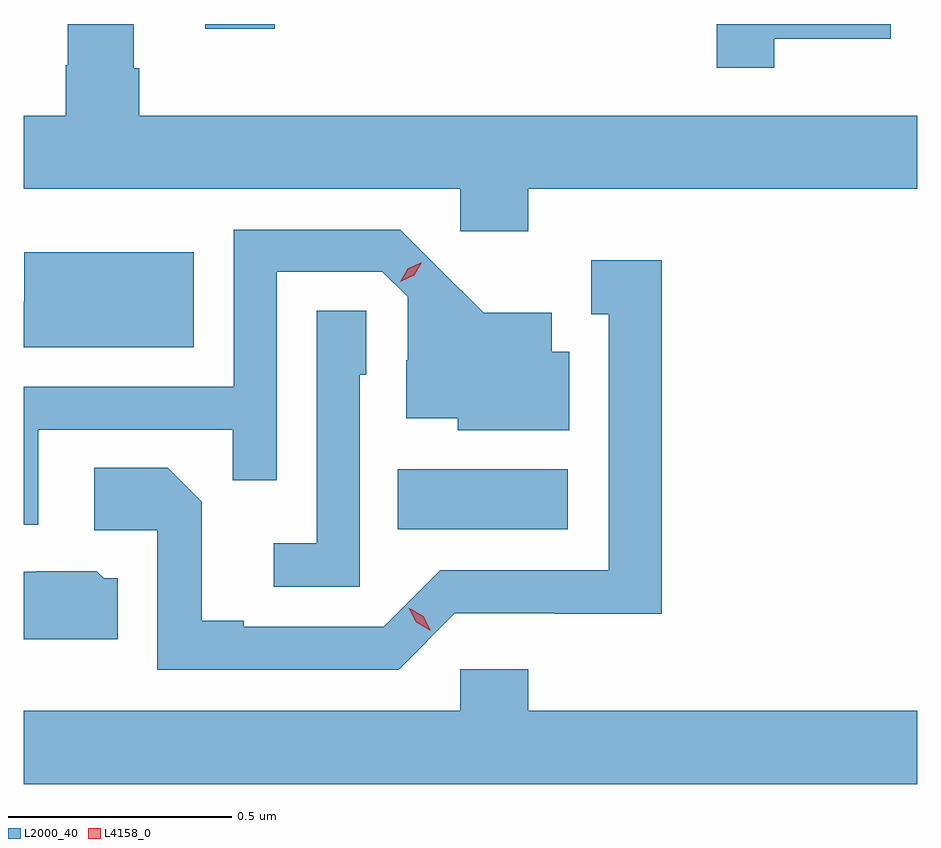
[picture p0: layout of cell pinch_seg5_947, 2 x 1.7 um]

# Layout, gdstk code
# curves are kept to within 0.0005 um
import gdstk
lib = gdstk.Library(unit=1e-6, precision=1e-09)
def R(c, l, rs):  # rectangles x0, y0, x1, y1
    for r in rs: c.add(gdstk.rectangle(r[:2], r[2:], *l))
def P(c, l, *ps):  # polygons
    for p in ps: c.add(gdstk.Polygon(p, *l))
L2000_40 = (2000, 40)
L4158_0 = (4158, 0)

pinch_seg5_947 = lib.new_cell('pinch_seg5_947')
R(pinch_seg5_947, L2000_40, [(689.926,891.962,690.307,892.096), (689.495,893.082,689.651,893.093)])
P(pinch_seg5_947, L2000_40, [(690.218,892.724),(691.089,892.724),(691.089,892.888),(689.348,892.888),(689.348,892.994),(689.335,892.994),(689.335,893.093),(689.188,893.093),(689.188,893.001),(689.183,893.001),(689.183,892.888),(689.089,892.888),(689.089,892.724),(690.066,892.724),(690.066,892.629),(690.218,892.629)],
  [(690.769,893.06),(691.03,893.06),(691.03,893.093),(690.64,893.093),(690.64,892.995),(690.769,892.995)],
  [(689.121,892.185),(689.557,892.185),(689.557,892.072),(689.655,892.072),(689.655,892.539),(689.892,892.539),(689.949,892.482),(689.949,892.34),(689.945,892.34),(689.945,892.211),(690.06,892.211),(690.06,892.184),(690.31,892.184),(690.31,892.36),(690.271,892.36),(690.271,892.447),(690.119,892.447),(689.932,892.632),(689.559,892.632),(689.559,892.281),(689.089,892.281),(689.089,891.972),(689.121,891.972)],
  [(689.47,892.582),(689.09,892.582),(689.09,892.471),(689.089,892.471),(689.089,892.37),(689.47,892.37)],
  [(690.054,891.774),(690.276,891.774),(690.276,891.773),(690.517,891.773),(690.517,892.564),(690.359,892.564),(690.359,892.443),(690.398,892.443),(690.398,891.87),(690.021,891.87),(689.895,891.744),(689.581,891.744),(689.581,891.757),(689.487,891.757),(689.487,892.024),(689.411,892.1),(689.247,892.1),(689.247,891.96),(689.388,891.96),(689.388,891.648),(689.928,891.648)],
  [(689.841,892.308),(689.856,892.308),(689.856,892.451),(689.745,892.451),(689.745,891.931),(689.649,891.931),(689.649,891.834),(689.841,891.834)],
  [(689.299,891.852),(689.268,891.852),(689.252,891.868),(689.118,891.868),(689.118,891.867),(689.089,891.867),(689.089,891.716),(689.299,891.716)],
  [(691.089,891.556),(690.218,891.556),(690.218,891.649),(690.066,891.649),(690.066,891.556),(689.089,891.556),(689.089,891.392),(691.089,891.392)])
P(pinch_seg5_947, L4158_0, [(690,891.735),(689.968,891.754),(689.951,891.786),(689.951,891.786),(689.951,891.786),(689.983,891.768),(690,891.735),(690,891.735)],
  [(689.932,892.516),(689.932,892.516),(689.949,892.545),(689.98,892.56),(689.98,892.56),(689.98,892.56),(689.963,892.531),(689.932,892.516)])

lib.write_gds('pinch_seg5_947.gds')
